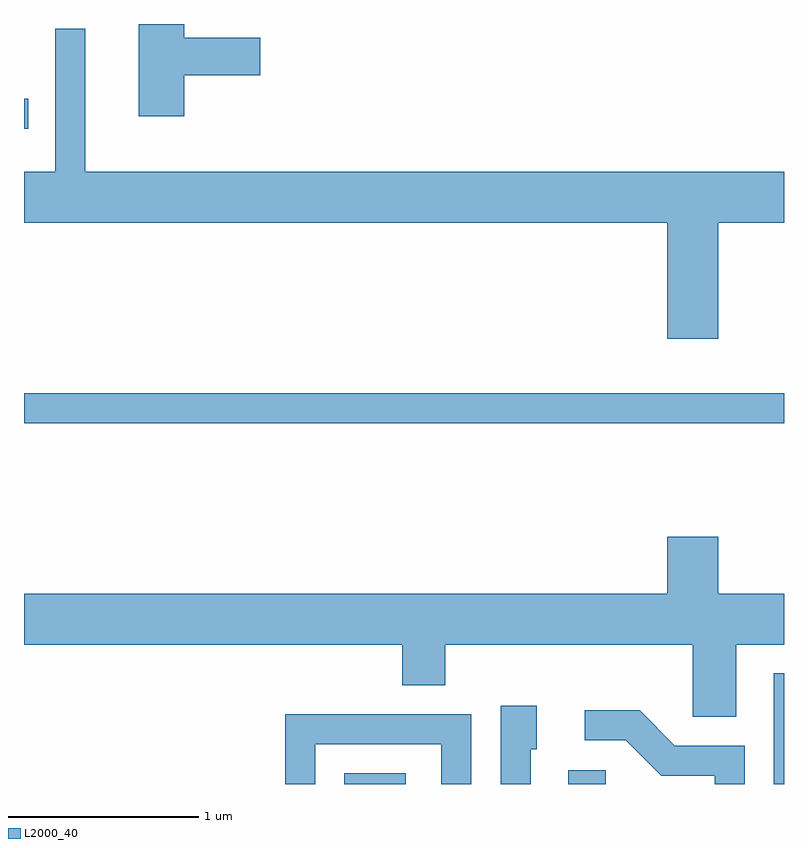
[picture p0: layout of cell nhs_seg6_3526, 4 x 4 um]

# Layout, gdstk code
import gdstk
lib = gdstk.Library(unit=1e-6, precision=1e-09)
def R(c, l, rs):  # rectangles x0, y0, x1, y1
    for r in rs: c.add(gdstk.rectangle(r[:2], r[2:], *l))
def P(c, l, *ps):  # polygons
    for p in ps: c.add(gdstk.Polygon(p, *l))
L2000_40 = (2000, 40)

nhs_seg6_3526 = lib.new_cell('nhs_seg6_3526')
R(nhs_seg6_3526, L2000_40, [(293.296,1578.162,293.619,1578.219), (294.476,1578.162,294.674,1578.234), (295.556,1578.162,295.611,1578.744), (291.611,1580.061,295.611,1580.219), (291.611,1581.611,291.633,1581.769)])
P(nhs_seg6_3526, L2000_40, [(292.454,1581.891),(292.854,1581.891),(292.854,1582.089),(292.454,1582.089),(292.454,1582.162),(292.216,1582.162),(292.216,1581.676),(292.454,1581.676)],
  [(295.264,1581.116),(295.611,1581.116),(295.611,1581.384),(291.934,1581.384),(291.934,1582.138),(291.776,1582.138),(291.776,1581.384),(291.611,1581.384),(291.611,1581.116),(294.996,1581.116),(294.996,1580.506),(295.264,1580.506)],
  [(291.611,1578.896),(293.601,1578.896),(293.601,1578.681),(293.829,1578.681),(293.829,1578.896),(295.131,1578.896),(295.131,1578.516),(295.359,1578.516),(295.359,1578.896),(295.611,1578.896),(295.611,1579.164),(295.264,1579.164),(295.264,1579.464),(294.996,1579.464),(294.996,1579.164),(291.611,1579.164)],
  [(294.279,1578.346),(294.309,1578.346),(294.309,1578.574),(294.121,1578.574),(294.121,1578.162),(294.279,1578.162)],
  [(295.404,1578.364),(295.037,1578.364),(294.852,1578.549),(294.563,1578.549),(294.563,1578.391),(294.779,1578.391),(294.964,1578.206),(295.246,1578.206),(295.246,1578.162),(295.404,1578.162)],
  [(293.144,1578.371),(293.806,1578.371),(293.806,1578.162),(293.964,1578.162),(293.964,1578.529),(292.986,1578.529),(292.986,1578.162),(293.144,1578.162)])

lib.write_gds('nhs_seg6_3526.gds')
